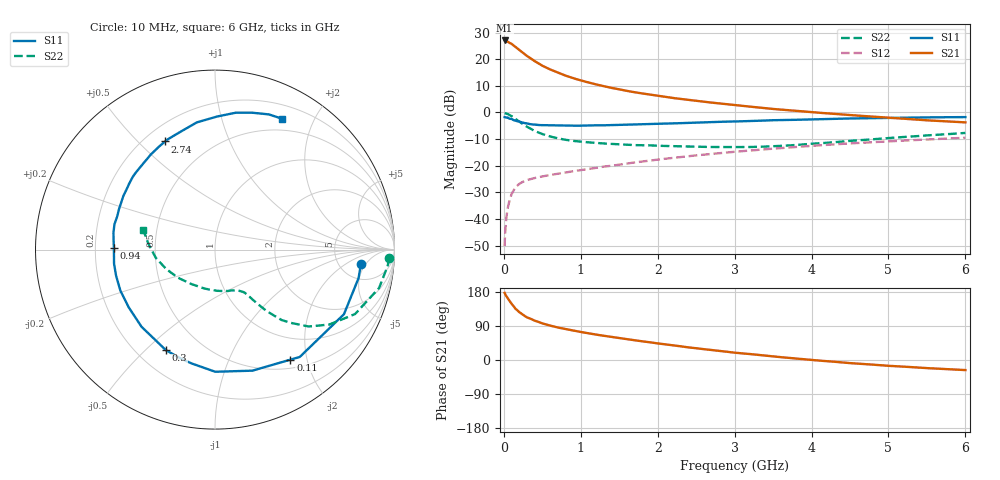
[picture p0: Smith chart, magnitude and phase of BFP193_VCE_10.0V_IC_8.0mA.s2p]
! Infineon Technologies  Discrete & RF Semiconductors
! BFP193
! VCE = 10.0V,  IC =  8.0 mA
! Common Emitter S-Parameters:  Jan 2016
# GHz  S  MA  R  50
!  f  S11  S21  S12  S22
! GHz  MAG  ANG  MAG  ANG  MAG  ANG  MAG  ANG
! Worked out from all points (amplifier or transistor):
!   210 points, 10 MHz to 6 GHz, reference 50 ohm
!   highest |S21| = 27.0 dB at 10 MHz (marker M1)
!   |S21| within 3 dB of that: start of sweep to 176.7 MHz
!   unconditionally stable (mu >= 1): 1.178 GHz to 3.806 GHz
!   at 185 MHz: K = 0.28, MSG = 25.5 dB, |S12| = -27.2 dB
!   at 1.52 GHz: K = 1.08, MAG = 12.3 dB, |S12| = -19.5 dB
!   at 6 GHz: K = 0.88, MSG = 2.9 dB, |S12| = -9.5 dB
!   S11 on the Smith chart (normalised r, x): 10 MHz: 8.06, -3.87; 110 MHz: 0.63, -1.72; 300 MHz: 0.32, -0.58; 940 MHz: 0.28, +0.01; 2.74 GHz: 0.28, +0.60; 6 GHz: 0.36, +1.58
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0.01  0.8173 -5.6  22.47 177.1  0.0031 82.2  0.9723 -2.7
0.02  0.8155 -11.2  22 172.4  0.0065 77.8  0.9663 -5.4
0.05  0.8037 -26.6  21.34 162.9  0.0159 75.7  0.9389 -13.2
0.1  0.7621 -51.7  19.47 148.4  0.0294 64.9  0.8591 -24.7
0.11  0.7432 -55.6  18.92 146.1  0.0312 62.6  0.838 -26.3
0.15  0.7061 -72.8  17.09 135.5  0.039 55.6  0.7607 -33.3
0.2  0.6806 -89.9  14.97 126.4  0.0457 50.5  0.6748 -39.4
0.26  0.6378 -106.7  12.72 117.4  0.051 45.8  0.5862 -44.1
0.3  0.6236 -116.0  11.51 112.6  0.0537 44.1  0.5399 -46.6
0.4  0.5936 -133.6  9.213 103.8  0.0591 41.1  0.4502 -49.9
0.5  0.5785 -146.2  7.546 96.6  0.0632 39.7  0.3942 -51.6
0.6  0.5746 -156.6  6.439 90.8  0.0671 39.8  0.3547 -52.8
0.7  0.57 -165.2  5.604 85.8  0.0707 40.3  0.3278 -53.7
0.94  0.5636 179.2  4.236 76.2  0.0805 42.2  0.2894 -55.7
1.02  0.5675 174.7  3.925 73.2  0.0836 42.7  0.2821 -56.6
1.4  0.5804 157.2  2.892 60.9  0.1 44.3  0.258 -62.4
2.02  0.6158 135.5  2.034 43.3  0.1315 44.3  0.237 -75.7
2.74  0.6634 114.7  1.511 25.4  0.169 40.9  0.2248 -97.2
3.1  0.6841 106.3  1.332 17.5  0.1882 38.4  0.2243 -110.1
4.1  0.7468 87.4  0.989 -1.6  0.2417 30.1  0.2642 -146.2
5.1  0.794 73.3  0.782 -16.4  0.2922 20.2  0.3393 -174.8
6  0.8192 62.9  0.652 -26.6  0.3359 10.7  0.4133 164.9
